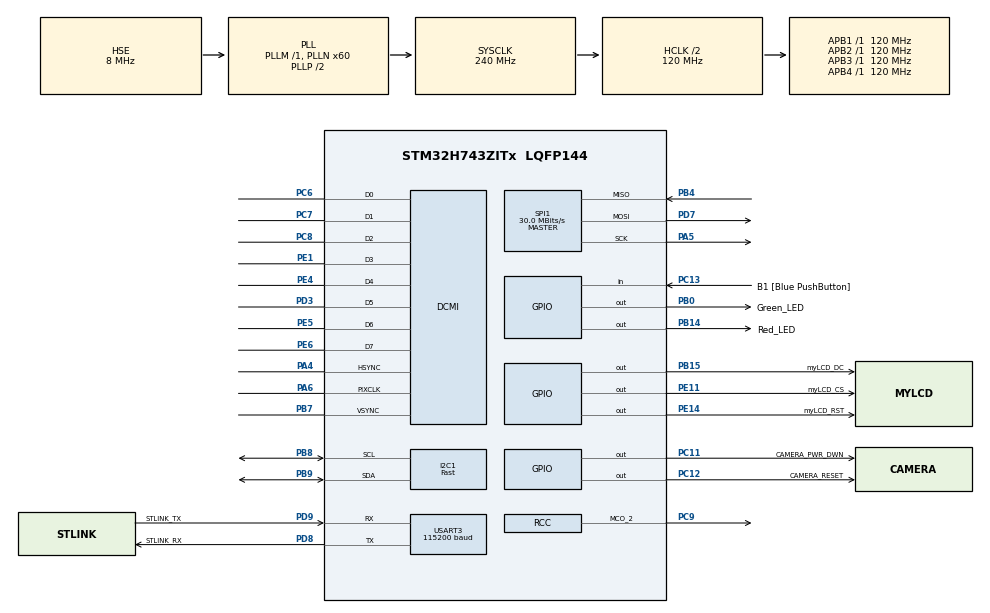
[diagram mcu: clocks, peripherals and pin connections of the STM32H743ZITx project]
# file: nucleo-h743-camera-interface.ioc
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DCMI.ByteSelectMode=DCMI_BSM_ALL
DCMI.HSPolarity=DCMI_HSPOLARITY_LOW
DCMI.PCKPolarity=DCMI_PCKPOLARITY_RISING
DCMI.VSPolarity=DCMI_VSPOLARITY_HIGH
Dma.DCMI.0.Direction=DMA_PERIPH_TO_MEMORY
Dma.DCMI.0.EventEnable=DISABLE
Dma.DCMI.0.FIFOMode=DMA_FIFOMODE_DISABLE
Dma.DCMI.0.Instance=DMA1_Stream1
Dma.DCMI.0.MemDataAlignment=DMA_MDATAALIGN_WORD
Dma.DCMI.0.MemInc=DMA_MINC_ENABLE
Dma.DCMI.0.Mode=DMA_NORMAL
Dma.DCMI.0.PeriphDataAlignment=DMA_PDATAALIGN_WORD
Dma.DCMI.0.PeriphInc=DMA_PINC_DISABLE
Dma.DCMI.0.Polarity=HAL_DMAMUX_REQ_GEN_RISING
Dma.DCMI.0.Priority=DMA_PRIORITY_MEDIUM
Dma.DCMI.0.RequestNumber=1
Dma.DCMI.0.SignalID=NONE
Dma.DCMI.0.SyncEnable=DISABLE
Dma.DCMI.0.SyncPolarity=HAL_DMAMUX_SYNC_NO_EVENT
Dma.DCMI.0.SyncRequestNumber=1
Dma.DCMI.0.SyncSignalID=NONE
Dma.Request0=DCMI
Dma.Request1=SPI1_TX
Dma.SPI1_TX.1.Direction=DMA_MEMORY_TO_PERIPH
Dma.SPI1_TX.1.EventEnable=DISABLE
Dma.SPI1_TX.1.FIFOMode=DMA_FIFOMODE_DISABLE
Dma.SPI1_TX.1.Instance=DMA1_Stream4
Dma.SPI1_TX.1.MemDataAlignment=DMA_MDATAALIGN_BYTE
Dma.SPI1_TX.1.MemInc=DMA_MINC_ENABLE
Dma.SPI1_TX.1.Mode=DMA_NORMAL
Dma.SPI1_TX.1.PeriphDataAlignment=DMA_PDATAALIGN_BYTE
Dma.SPI1_TX.1.PeriphInc=DMA_PINC_DISABLE
Dma.SPI1_TX.1.Polarity=HAL_DMAMUX_REQ_GEN_RISING
Dma.SPI1_TX.1.Priority=DMA_PRIORITY_VERY_HIGH
Dma.SPI1_TX.1.RequestNumber=1
Dma.SPI1_TX.1.SignalID=NONE
Dma.SPI1_TX.1.SyncEnable=DISABLE
Dma.SPI1_TX.1.SyncPolarity=HAL_DMAMUX_SYNC_NO_EVENT
Dma.SPI1_TX.1.SyncRequestNumber=1
Dma.SPI1_TX.1.SyncSignalID=NONE
I2C1.I2C_Speed_Mode=I2C_Fast
I2C1.Timing=0x00B03FDB
Mcu.Family=STM32H7
Mcu.Name=STM32H743ZITx
Mcu.Package=LQFP144
NVIC.DCMI_IRQn=true\:0\:0\:false\:false\:true\:true\:true\:true
NVIC.DMA1_Stream1_IRQn=true\:0\:0\:false\:false\:true\:false\:true\:true
NVIC.DMA1_Stream4_IRQn=true\:0\:0\:false\:false\:true\:false\:true\:true
NVIC.PriorityGroup=NVIC_PRIORITYGROUP_4
NVIC.SPI1_IRQn=true\:0\:0\:false\:false\:true\:false\:true\:true
NVIC.TIM2_IRQn=true\:0\:0\:false\:false\:true\:true\:true\:true
PA4.GPIO_Speed=GPIO_SPEED_FREQ_VERY_HIGH
PA4.Mode=Slave_8_bits_External_Synchro
PA4.Signal=DCMI_HSYNC
PA5.GPIO_Speed=GPIO_SPEED_FREQ_VERY_HIGH
PA5.Mode=Full_Duplex_Master
PA5.Signal=SPI1_SCK
PA6.GPIO_Speed=GPIO_SPEED_FREQ_VERY_HIGH
PA6.Mode=Slave_8_bits_External_Synchro
PA6.Signal=DCMI_PIXCLK
PB0.GPIO_Label=Green_LED
PB0.Signal=GPIO_Output
PB14.GPIO_Label=Red_LED
PB14.Signal=GPIO_Output
PB15.GPIO_Label=myLCD_DC
PB15.GPIO_Speed=GPIO_SPEED_FREQ_HIGH
PB15.Signal=GPIO_Output
PB4\ (NJTRST).GPIO_Speed=GPIO_SPEED_FREQ_VERY_HIGH
PB4\ (NJTRST).Mode=Full_Duplex_Master
PB4\ (NJTRST).Signal=SPI1_MISO
PB7.GPIO_Speed=GPIO_SPEED_FREQ_VERY_HIGH
PB7.Mode=Slave_8_bits_External_Synchro
PB7.Signal=DCMI_VSYNC
PB8.GPIO_PuPd=GPIO_PULLUP
PB8.GPIO_Speed=GPIO_SPEED_FREQ_VERY_HIGH
PB8.Mode=I2C
PB8.Signal=I2C1_SCL
PB9.GPIO_PuPd=GPIO_PULLUP
PB9.GPIO_Speed=GPIO_SPEED_FREQ_VERY_HIGH
PB9.Mode=I2C
PB9.Signal=I2C1_SDA
PC11.GPIO_Label=CAMERA_PWR_DWN
PC11.Signal=GPIO_Output
PC12.GPIO_Label=CAMERA_RESET
PC12.PinState=GPIO_PIN_SET
PC12.Signal=GPIO_Output
PC13.GPIO_Label=B1 [Blue PushButton]
PC13.Signal=GPIO_Input
PC14-OSC32_IN\ (OSC32_IN).Mode=LSE-External-Oscillator
PC14-OSC32_IN\ (OSC32_IN).Signal=RCC_OSC32_IN
PC15-OSC32_OUT\ (OSC32_OUT).Mode=LSE-External-Oscillator
PC15-OSC32_OUT\ (OSC32_OUT).Signal=RCC_OSC32_OUT
PC6.GPIO_Speed=GPIO_SPEED_FREQ_VERY_HIGH
PC6.Mode=Slave_8_bits_External_Synchro
PC6.Signal=DCMI_D0
PC7.GPIO_Speed=GPIO_SPEED_FREQ_VERY_HIGH
PC7.Mode=Slave_8_bits_External_Synchro
PC7.Signal=DCMI_D1
PC8.GPIO_Speed=GPIO_SPEED_FREQ_VERY_HIGH
PC8.Mode=Slave_8_bits_External_Synchro
PC8.Signal=DCMI_D2
PC9.Mode=Clock-out-2
PC9.Signal=RCC_MCO_2
PD3.GPIO_Speed=GPIO_SPEED_FREQ_VERY_HIGH
PD3.Mode=Slave_8_bits_External_Synchro
PD3.Signal=DCMI_D5
PD7.GPIO_Speed=GPIO_SPEED_FREQ_VERY_HIGH
PD7.Mode=Full_Duplex_Master
PD7.Signal=SPI1_MOSI
PD8.GPIO_Label=STLINK_RX
PD8.Mode=Asynchronous
PD8.Signal=USART3_TX
PD9.GPIO_Label=STLINK_TX
PD9.Mode=Asynchronous
PD9.Signal=USART3_RX
PE1.GPIO_Speed=GPIO_SPEED_FREQ_VERY_HIGH
PE1.Mode=Slave_8_bits_External_Synchro
PE1.Signal=DCMI_D3
PE11.GPIO_Label=myLCD_CS
PE11.GPIO_Speed=GPIO_SPEED_FREQ_VERY_HIGH
PE11.Signal=GPIO_Output
PE14.GPIO_Label=myLCD_RST
PE14.GPIO_Speed=GPIO_SPEED_FREQ_HIGH
PE14.Signal=GPIO_Output
PE4.GPIO_Speed=GPIO_SPEED_FREQ_VERY_HIGH
PE4.Mode=Slave_8_bits_External_Synchro
PE4.Signal=DCMI_D4
PE5.GPIO_Speed=GPIO_SPEED_FREQ_VERY_HIGH
PE5.Mode=Slave_8_bits_External_Synchro
PE5.Signal=DCMI_D6
PE6.GPIO_Speed=GPIO_SPEED_FREQ_VERY_HIGH
PE6.Mode=Slave_8_bits_External_Synchro
PE6.Signal=DCMI_D7
PH0-OSC_IN\ (PH0).Mode=HSE-External-Clock-Source
PH0-OSC_IN\ (PH0).Signal=RCC_OSC_IN
PH1-OSC_OUT\ (PH1).Signal=RCC_OSC_OUT
ProjectManager.HeapSize=0x200
ProjectManager.StackSize=0x400
ProjectManager.TargetToolchain=STM32CubeIDE
RCC.ADCFreq_Value=50666666.666666664
RCC.APB1Freq_Value=120000000
RCC.APB2Freq_Value=120000000
RCC.APB3Freq_Value=120000000
RCC.APB4Freq_Value=120000000
RCC.CortexFreq_Value=240000000
RCC.DIVM1=1
RCC.DIVM2=1
RCC.DIVN1=60
RCC.DIVN2=19
RCC.DIVP2=3
RCC.HCLKFreq_Value=120000000
RCC.HPRE=RCC_HCLK_DIV2
RCC.HSE_VALUE=8000000
RCC.PLL2FRACN=0
RCC.PLL3FRACN=0
RCC.PLLFRACN=0
RCC.PLLSourceVirtual=RCC_PLLSOURCE_HSE
RCC.RCC_MCODiv2=RCC_MCODIV_8
RCC.SYSCLKFreq_VALUE=240000000
RCC.SYSCLKSource=RCC_SYSCLKSOURCE_PLLCLK
RCC.USBFreq_Value=240000000
SPI1.BaudRatePrescaler=SPI_BAUDRATEPRESCALER_8
SPI1.CalculateBaudRate=30.0 MBits/s
SPI1.DataSize=SPI_DATASIZE_8BIT
SPI1.Direction=SPI_DIRECTION_2LINES
SPI1.Mode=SPI_MODE_MASTER
SPI1.VirtualType=VM_MASTER
TIM2.AutoReloadPreload=TIM_AUTORELOAD_PRELOAD_DISABLE
TIM2.Period=10000 - 1
TIM2.Prescaler=12000 - 1
USART3.BaudRate=115200
USART3.VirtualMode-Asynchronous=VM_ASYNC
VP_TIM2_VS_ClockSourceINT.Mode=Internal
board=NUCLEO-H743ZI2

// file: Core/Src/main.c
/* USER CODE BEGIN Header */
/**
  ******************************************************************************
  * @file           : main.c
  * @brief          : Main program body
  ******************************************************************************
  * @attention
  *
  * Author: Enrique Phan
  * Date :	2020/09/20
  * Github: PHANzgz
  *
  ******************************************************************************
  */
/* USER CODE END Header */
#include "main.h"

/* USER CODE BEGIN Includes */
#include <stdio.h>
#include "string.h"
#include "../../Drivers/OV7670/OV7670.h"
#include "../../Drivers/ILI9341_Serial/ILI9341.h"
#include "../../Drivers/ILI9341_Serial/ILI9341_GFX.h"

#include "img.h"
/* USER CODE END Includes */

/* USER CODE BEGIN PD */
#define USE_GRAYSCALE 0

/* USER CODE END PD */

DCMI_HandleTypeDef hdcmi;
DMA_HandleTypeDef hdma_dcmi;

I2C_HandleTypeDef hi2c1;

SPI_HandleTypeDef hspi1;
DMA_HandleTypeDef hdma_spi1_tx;

TIM_HandleTypeDef htim2;

UART_HandleTypeDef huart3;

/* USER CODE BEGIN PV */
#if USE_GRAYSCALE
uint32_t frame_buffer[OV7670_QVGA_WIDTH * OV7670_QVGA_HEIGHT/4];
#else
uint32_t frame_buffer[OV7670_QVGA_WIDTH * OV7670_QVGA_HEIGHT/2];
#endif

uint8_t new_capture = 0;
volatile uint32_t frame_count = 0; // �?ếm số lượng khung hình đã vẽ
volatile float fps = 0.0;          // Lưu giá trị FPS
volatile uint8_t timer2_flag = 0;
/* USER CODE END PV */

void SystemClock_Config(void);
static void MX_GPIO_Init(void);
static void MX_DMA_Init(void);
static void MX_USART3_UART_Init(void);
static void MX_DCMI_Init(void);
static void MX_TIM2_Init(void);
static void MX_I2C1_Init(void);
static void MX_SPI1_Init(void);
/* USER CODE BEGIN PFP */
static void onFrameCallback();

/* USER CODE END PFP */

int main(void)
{

  /* MCU Configuration--------------------------------------------------------*/

  /* Reset of all peripherals, Initializes the Flash interface and the Systick. */
  HAL_Init();

  /* Configure the system clock */
  SystemClock_Config();

  /* Initialize all configured peripherals */
  MX_GPIO_Init();
  MX_DMA_Init();
  MX_USART3_UART_Init();
  MX_DCMI_Init();
  MX_TIM2_Init();
  MX_I2C1_Init();
  MX_SPI1_Init();
  /* USER CODE BEGIN 2 */

  HAL_GPIO_WritePin(CAMERA_PWR_DWN_GPIO_Port, CAMERA_PWR_DWN_Pin, GPIO_PIN_RESET); // Turn on camera
  ov7670_init(&hdcmi, &hdma_dcmi, &hi2c1);

#if USE_GRAYSCALE
  ov7670_config(OV7670_MODE_QVGA_YUV);
#else
  ov7670_config(OV7670_MODE_QVGA_RGB565);
#endif

  ov7670_registerCallback(NULL, NULL, &onFrameCallback);
  ILI9341_Init(&hspi1);

  ILI9341_Set_Rotation(SCREEN_HORIZONTAL_2);

  ILI9341_Draw_Image(ls565_bin, SCREEN_HORIZONTAL_2);

  // Draw string
  ILI9341_Draw_Text("CAMERA READY", 50, 50, WHITE, 3, BLACK);  // Display text with size 2, black on white

  HAL_Delay(2000);
//Mở 2 dòng này để sử dụng đo FPS
//  HAL_TIM_Base_Start_IT(&htim2);
//  char fps_text[16];
  /* USER CODE END 2 */

  /* Infinite loop */
  /* USER CODE BEGIN WHILE */
  while (1)
  {
	  if (new_capture){
		  new_capture = 0; // Reset c�?
		  ILI9341_Draw_Image_From_OV7670((unsigned char*) frame_buffer);
		  //ILI9341_Draw_Text(fps_text, 50, 50, WHITE, 3, BLACK); // Hiển thị FPS
		  frame_count++;  // Tăng số khung hình
	  }

	  if (HAL_GPIO_ReadPin(B1_GPIO_Port, B1_Pin) == 0){
		  ov7670_startCap(OV7670_CAP_CONTINUOUS, (uint32_t)frame_buffer);
	  }

//	  if (timer2_flag) {
//	      timer2_flag = 0;
//	      fps = frame_count;
//	      frame_count = 0;
//	      sprintf(fps_text, "FPS: %d", (int)fps);
//	  }

    /* USER CODE END WHILE */

  }
}

void SystemClock_Config(void)
{
  RCC_OscInitTypeDef RCC_OscInitStruct = {0};
  RCC_ClkInitTypeDef RCC_ClkInitStruct = {0};
  RCC_PeriphCLKInitTypeDef PeriphClkInitStruct = {0};

  /** Supply configuration update enable
  */
  HAL_PWREx_ConfigSupply(PWR_LDO_SUPPLY);
  /** Configure the main internal regulator output voltage
  */
  __HAL_PWR_VOLTAGESCALING_CONFIG(PWR_REGULATOR_VOLTAGE_SCALE2);

  while(!__HAL_PWR_GET_FLAG(PWR_FLAG_VOSRDY)) {}
  /** Initializes the RCC Oscillators according to the specified parameters
  * in the RCC_OscInitTypeDef structure.
  */
  RCC_OscInitStruct.OscillatorType = RCC_OSCILLATORTYPE_HSE;
  RCC_OscInitStruct.HSEState = RCC_HSE_BYPASS;
  RCC_OscInitStruct.PLL.PLLState = RCC_PLL_ON;
  RCC_OscInitStruct.PLL.PLLSource = RCC_PLLSOURCE_HSE;
  RCC_OscInitStruct.PLL.PLLM = 1;
  RCC_OscInitStruct.PLL.PLLN = 60;
  RCC_OscInitStruct.PLL.PLLP = 2;
  RCC_OscInitStruct.PLL.PLLQ = 2;
  RCC_OscInitStruct.PLL.PLLR = 2;
  RCC_OscInitStruct.PLL.PLLRGE = RCC_PLL1VCIRANGE_3;
  RCC_OscInitStruct.PLL.PLLVCOSEL = RCC_PLL1VCOWIDE;
  RCC_OscInitStruct.PLL.PLLFRACN = 0;
  if (HAL_RCC_OscConfig(&RCC_OscInitStruct) != HAL_OK)
  {
    Error_Handler();
  }
  /** Initializes the CPU, AHB and APB buses clocks
  */
  RCC_ClkInitStruct.ClockType = RCC_CLOCKTYPE_HCLK|RCC_CLOCKTYPE_SYSCLK
                              |RCC_CLOCKTYPE_PCLK1|RCC_CLOCKTYPE_PCLK2
                              |RCC_CLOCKTYPE_D3PCLK1|RCC_CLOCKTYPE_D1PCLK1;
  RCC_ClkInitStruct.SYSCLKSource = RCC_SYSCLKSOURCE_PLLCLK;
  RCC_ClkInitStruct.SYSCLKDivider = RCC_SYSCLK_DIV1;
  RCC_ClkInitStruct.AHBCLKDivider = RCC_HCLK_DIV2;
  RCC_ClkInitStruct.APB3CLKDivider = RCC_APB3_DIV1;
  RCC_ClkInitStruct.APB1CLKDivider = RCC_APB1_DIV1;
  RCC_ClkInitStruct.APB2CLKDivider = RCC_APB2_DIV1;
  RCC_ClkInitStruct.APB4CLKDivider = RCC_APB4_DIV1;

  if (HAL_RCC_ClockConfig(&RCC_ClkInitStruct, FLASH_LATENCY_1) != HAL_OK)
  {
    Error_Handler();
  }
  PeriphClkInitStruct.PeriphClockSelection = RCC_PERIPHCLK_USART3|RCC_PERIPHCLK_SPI1
                              |RCC_PERIPHCLK_I2C1;
  PeriphClkInitStruct.Spi123ClockSelection = RCC_SPI123CLKSOURCE_PLL;
  PeriphClkInitStruct.Usart234578ClockSelection = RCC_USART234578CLKSOURCE_D2PCLK1;
  PeriphClkInitStruct.I2c123ClockSelection = RCC_I2C123CLKSOURCE_D2PCLK1;
  if (HAL_RCCEx_PeriphCLKConfig(&PeriphClkInitStruct) != HAL_OK)
  {
    Error_Handler();
  }
  HAL_RCC_MCOConfig(RCC_MCO2, RCC_MCO2SOURCE_SYSCLK, RCC_MCODIV_8);
}

static void MX_DCMI_Init(void)
{

  hdcmi.Instance = DCMI;
  hdcmi.Init.SynchroMode = DCMI_SYNCHRO_HARDWARE;
  hdcmi.Init.PCKPolarity = DCMI_PCKPOLARITY_RISING;
  hdcmi.Init.VSPolarity = DCMI_VSPOLARITY_HIGH;
  hdcmi.Init.HSPolarity = DCMI_HSPOLARITY_LOW;
  hdcmi.Init.CaptureRate = DCMI_CR_ALL_FRAME;
  hdcmi.Init.ExtendedDataMode = DCMI_EXTEND_DATA_8B;
  hdcmi.Init.JPEGMode = DCMI_JPEG_DISABLE;
  hdcmi.Init.ByteSelectMode = DCMI_BSM_ALL;
  hdcmi.Init.ByteSelectStart = DCMI_OEBS_ODD;
  hdcmi.Init.LineSelectMode = DCMI_LSM_ALL;
  hdcmi.Init.LineSelectStart = DCMI_OELS_ODD;
  if (HAL_DCMI_Init(&hdcmi) != HAL_OK)
  {
    Error_Handler();
  }

}

static void MX_I2C1_Init(void)
{

  hi2c1.Instance = I2C1;
  hi2c1.Init.Timing = 0x00B03FDB;
  hi2c1.Init.OwnAddress1 = 0;
  hi2c1.Init.AddressingMode = I2C_ADDRESSINGMODE_7BIT;
  hi2c1.Init.DualAddressMode = I2C_DUALADDRESS_DISABLE;
  hi2c1.Init.OwnAddress2 = 0;
  hi2c1.Init.OwnAddress2Masks = I2C_OA2_NOMASK;
  hi2c1.Init.GeneralCallMode = I2C_GENERALCALL_DISABLE;
  hi2c1.Init.NoStretchMode = I2C_NOSTRETCH_DISABLE;
  if (HAL_I2C_Init(&hi2c1) != HAL_OK)
  {
    Error_Handler();
  }
  /** Configure Analogue filter
  */
  if (HAL_I2CEx_ConfigAnalogFilter(&hi2c1, I2C_ANALOGFILTER_ENABLE) != HAL_OK)
  {
    Error_Handler();
  }
  /** Configure Digital filter
  */
  if (HAL_I2CEx_ConfigDigitalFilter(&hi2c1, 0) != HAL_OK)
  {
    Error_Handler();
  }

}

static void MX_SPI1_Init(void)
{

  /* SPI1 parameter configuration*/
  hspi1.Instance = SPI1;
  hspi1.Init.Mode = SPI_MODE_MASTER;
  hspi1.Init.Direction = SPI_DIRECTION_2LINES;
  hspi1.Init.DataSize = SPI_DATASIZE_8BIT;
  hspi1.Init.CLKPolarity = SPI_POLARITY_LOW;
  hspi1.Init.CLKPhase = SPI_PHASE_1EDGE;
  hspi1.Init.NSS = SPI_NSS_SOFT;
  hspi1.Init.BaudRatePrescaler = SPI_BAUDRATEPRESCALER_8;
  hspi1.Init.FirstBit = SPI_FIRSTBIT_MSB;
  hspi1.Init.TIMode = SPI_TIMODE_DISABLE;
  hspi1.Init.CRCCalculation = SPI_CRCCALCULATION_DISABLE;
  hspi1.Init.CRCPolynomial = 0x0;
  hspi1.Init.NSSPMode = SPI_NSS_PULSE_ENABLE;
  hspi1.Init.NSSPolarity = SPI_NSS_POLARITY_LOW;
  hspi1.Init.FifoThreshold = SPI_FIFO_THRESHOLD_01DATA;
  hspi1.Init.TxCRCInitializationPattern = SPI_CRC_INITIALIZATION_ALL_ZERO_PATTERN;
  hspi1.Init.RxCRCInitializationPattern = SPI_CRC_INITIALIZATION_ALL_ZERO_PATTERN;
  hspi1.Init.MasterSSIdleness = SPI_MASTER_SS_IDLENESS_00CYCLE;
  hspi1.Init.MasterInterDataIdleness = SPI_MASTER_INTERDATA_IDLENESS_00CYCLE;
  hspi1.Init.MasterReceiverAutoSusp = SPI_MASTER_RX_AUTOSUSP_DISABLE;
  hspi1.Init.MasterKeepIOState = SPI_MASTER_KEEP_IO_STATE_DISABLE;
  hspi1.Init.IOSwap = SPI_IO_SWAP_DISABLE;
  if (HAL_SPI_Init(&hspi1) != HAL_OK)
  {
    Error_Handler();
  }

}

static void MX_TIM2_Init(void)
{

  TIM_ClockConfigTypeDef sClockSourceConfig = {0};
  TIM_MasterConfigTypeDef sMasterConfig = {0};

  htim2.Instance = TIM2;
  htim2.Init.Prescaler = 12000 - 1;
  htim2.Init.CounterMode = TIM_COUNTERMODE_UP;
  htim2.Init.Period = 10000 - 1;
  htim2.Init.ClockDivision = TIM_CLOCKDIVISION_DIV1;
  htim2.Init.AutoReloadPreload = TIM_AUTORELOAD_PRELOAD_DISABLE;
  if (HAL_TIM_Base_Init(&htim2) != HAL_OK)
  {
    Error_Handler();
  }
  sClockSourceConfig.ClockSource = TIM_CLOCKSOURCE_INTERNAL;
  if (HAL_TIM_ConfigClockSource(&htim2, &sClockSourceConfig) != HAL_OK)
  {
    Error_Handler();
  }
  sMasterConfig.MasterOutputTrigger = TIM_TRGO_RESET;
  sMasterConfig.MasterSlaveMode = TIM_MASTERSLAVEMODE_DISABLE;
  if (HAL_TIMEx_MasterConfigSynchronization(&htim2, &sMasterConfig) != HAL_OK)
  {
    Error_Handler();
  }
  /* USER CODE BEGIN TIM2_Init 2 */
  // Kích hoạt ngắt Timer 2
  HAL_NVIC_SetPriority(TIM2_IRQn, 1, 0);
  HAL_NVIC_EnableIRQ(TIM2_IRQn);
  /* USER CODE END TIM2_Init 2 */

}

static void MX_USART3_UART_Init(void)
{

  huart3.Instance = USART3;
  huart3.Init.BaudRate = 115200;
  huart3.Init.WordLength = UART_WORDLENGTH_8B;
  huart3.Init.StopBits = UART_STOPBITS_1;
  huart3.Init.Parity = UART_PARITY_NONE;
  huart3.Init.Mode = UART_MODE_TX_RX;
  huart3.Init.HwFlowCtl = UART_HWCONTROL_NONE;
  huart3.Init.OverSampling = UART_OVERSAMPLING_16;
  huart3.Init.OneBitSampling = UART_ONE_BIT_SAMPLE_DISABLE;
  huart3.Init.ClockPrescaler = UART_PRESCALER_DIV1;
  huart3.AdvancedInit.AdvFeatureInit = UART_ADVFEATURE_NO_INIT;
  if (HAL_UART_Init(&huart3) != HAL_OK)
  {
    Error_Handler();
  }
  if (HAL_UARTEx_SetTxFifoThreshold(&huart3, UART_TXFIFO_THRESHOLD_1_8) != HAL_OK)
  {
    Error_Handler();
  }
  if (HAL_UARTEx_SetRxFifoThreshold(&huart3, UART_RXFIFO_THRESHOLD_1_8) != HAL_OK)
  {
    Error_Handler();
  }
  if (HAL_UARTEx_DisableFifoMode(&huart3) != HAL_OK)
  {
    Error_Handler();
  }

}

static void MX_DMA_Init(void)
{

  /* DMA controller clock enable */
  __HAL_RCC_DMA1_CLK_ENABLE();

  /* DMA interrupt init */
  /* DMA1_Stream1_IRQn interrupt configuration */
  HAL_NVIC_SetPriority(DMA1_Stream1_IRQn, 0, 0);
  HAL_NVIC_EnableIRQ(DMA1_Stream1_IRQn);
  /* DMA1_Stream4_IRQn interrupt configuration */
  HAL_NVIC_SetPriority(DMA1_Stream4_IRQn, 0, 0);
  HAL_NVIC_EnableIRQ(DMA1_Stream4_IRQn);

}

static void MX_GPIO_Init(void)
{
  GPIO_InitTypeDef GPIO_InitStruct = {0};

  /* GPIO Ports Clock Enable */
  __HAL_RCC_GPIOE_CLK_ENABLE();
  __HAL_RCC_GPIOC_CLK_ENABLE();
  __HAL_RCC_GPIOH_CLK_ENABLE();
  __HAL_RCC_GPIOA_CLK_ENABLE();
  __HAL_RCC_GPIOB_CLK_ENABLE();
  __HAL_RCC_GPIOD_CLK_ENABLE();

  /*Configure GPIO pin Output Level */
  HAL_GPIO_WritePin(GPIOB, Green_LED_Pin|Red_LED_Pin|myLCD_DC_Pin, GPIO_PIN_RESET);

  /*Configure GPIO pin Output Level */
  HAL_GPIO_WritePin(GPIOE, myLCD_CS_Pin|myLCD_RST_Pin, GPIO_PIN_RESET);

  /*Configure GPIO pin Output Level */
  HAL_GPIO_WritePin(CAMERA_PWR_DWN_GPIO_Port, CAMERA_PWR_DWN_Pin, GPIO_PIN_RESET);

  /*Configure GPIO pin Output Level */
  HAL_GPIO_WritePin(CAMERA_RESET_GPIO_Port, CAMERA_RESET_Pin, GPIO_PIN_SET);

  /*Configure GPIO pin : B1_Pin */
  GPIO_InitStruct.Pin = B1_Pin;
  GPIO_InitStruct.Mode = GPIO_MODE_INPUT;
  GPIO_InitStruct.Pull = GPIO_NOPULL;
  HAL_GPIO_Init(B1_GPIO_Port, &GPIO_InitStruct);

  /*Configure GPIO pins : Green_LED_Pin Red_LED_Pin */
  GPIO_InitStruct.Pin = Green_LED_Pin|Red_LED_Pin;
  GPIO_InitStruct.Mode = GPIO_MODE_OUTPUT_PP;
  GPIO_InitStruct.Pull = GPIO_NOPULL;
  GPIO_InitStruct.Speed = GPIO_SPEED_FREQ_LOW;
  HAL_GPIO_Init(GPIOB, &GPIO_InitStruct);

  /*Configure GPIO pin : myLCD_CS_Pin */
  GPIO_InitStruct.Pin = myLCD_CS_Pin;
  GPIO_InitStruct.Mode = GPIO_MODE_OUTPUT_PP;
  GPIO_InitStruct.Pull = GPIO_NOPULL;
  GPIO_InitStruct.Speed = GPIO_SPEED_FREQ_VERY_HIGH;
  HAL_GPIO_Init(myLCD_CS_GPIO_Port, &GPIO_InitStruct);

  /*Configure GPIO pin : myLCD_RST_Pin */
  GPIO_InitStruct.Pin = myLCD_RST_Pin;
  GPIO_InitStruct.Mode = GPIO_MODE_OUTPUT_PP;
  GPIO_InitStruct.Pull = GPIO_NOPULL;
  GPIO_InitStruct.Speed = GPIO_SPEED_FREQ_HIGH;
  HAL_GPIO_Init(myLCD_RST_GPIO_Port, &GPIO_InitStruct);

  /*Configure GPIO pin : myLCD_DC_Pin */
  GPIO_InitStruct.Pin = myLCD_DC_Pin;
  GPIO_InitStruct.Mode = GPIO_MODE_OUTPUT_PP;
  GPIO_InitStruct.Pull = GPIO_NOPULL;
  GPIO_InitStruct.Speed = GPIO_SPEED_FREQ_HIGH;
  HAL_GPIO_Init(myLCD_DC_GPIO_Port, &GPIO_InitStruct);

  /*Configure GPIO pin : PC9 */
  GPIO_InitStruct.Pin = GPIO_PIN_9;
  GPIO_InitStruct.Mode = GPIO_MODE_AF_PP;
  GPIO_InitStruct.Pull = GPIO_NOPULL;
  GPIO_InitStruct.Speed = GPIO_SPEED_FREQ_LOW;
  GPIO_InitStruct.Alternate = GPIO_AF0_MCO;
  HAL_GPIO_Init(GPIOC, &GPIO_InitStruct);

  /*Configure GPIO pins : CAMERA_PWR_DWN_Pin CAMERA_RESET_Pin */
  GPIO_InitStruct.Pin = CAMERA_PWR_DWN_Pin|CAMERA_RESET_Pin;
  GPIO_InitStruct.Mode = GPIO_MODE_OUTPUT_PP;
  GPIO_InitStruct.Pull = GPIO_NOPULL;
  GPIO_InitStruct.Speed = GPIO_SPEED_FREQ_LOW;
  HAL_GPIO_Init(GPIOC, &GPIO_InitStruct);

}

/* USER CODE BEGIN 4 */
static void onFrameCallback(){
	new_capture = 1;
}

void HAL_TIM_PeriodElapsedCallback(TIM_HandleTypeDef *htim) {
    if (htim->Instance == TIM2) { // Kiểm tra Timer 2
    	timer2_flag = 1;
    }
}
/* USER CODE END 4 */

void Error_Handler(void)
{
}

/************************ (C) COPYRIGHT STMicroelectronics *****END OF FILE****/
